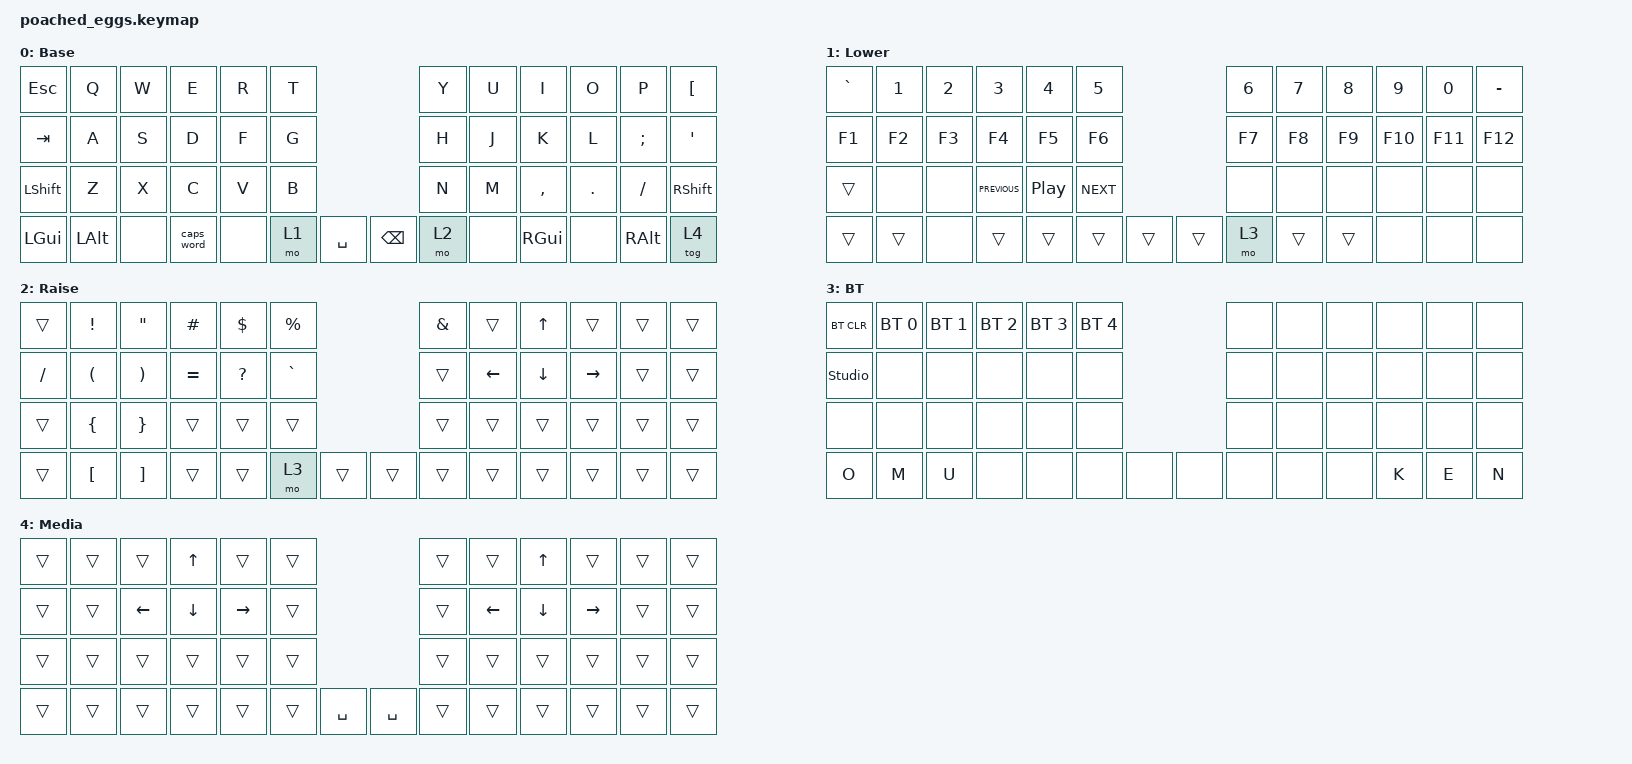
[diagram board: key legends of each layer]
#include <behaviors.dtsi>
#include <dt-bindings/zmk/bt.h>
#include <dt-bindings/zmk/keys.h>

/ {
    macros {
        // "00"（KP_N0 を 2 回送る）numpad 用マクロ
        num_00: num_00 {
            compatible = "zmk,behavior-macro";
            #binding-cells = <0>;
            bindings = <&kp KP_N0 &kp KP_N0>;
        };
    };

    combos {
        compatible = "zmk,combos";

        combo_enter {
            bindings = <&kp RET>;
            key-positions = <42 43>;
        };
    };

    keymap {
        compatible = "zmk,keymap";

        default_layer {
            display-name = "Base";
            bindings = <
&kp ESC    &kp Q     &kp W  &kp E       &kp R  &kp T                       &kp Y  &kp U  &kp I      &kp O    &kp P     &kp LEFT_BRACKET
&kp TAB    &kp A     &kp S  &kp D       &kp F  &kp G                       &kp H  &kp J  &kp K      &kp L    &kp SEMI  &kp SQT
&kp LSHFT  &kp Z     &kp X  &kp C       &kp V  &kp B                       &kp N  &kp M  &kp COMMA  &kp DOT  &kp FSLH  &kp RSHFT
&kp LGUI   &kp LALT  &none  &caps_word  &none  &mo 1  &kp SPACE  &kp BSPC  &mo 2  &none  &kp RGUI   &none    &kp RALT  &tog 4
            >;
        };

        lower_layer {
            display-name = "Lower";
            bindings = <
&kp GRAVE  &kp N1  &kp N2  &kp N3          &kp N4            &kp N5                       &kp N6  &kp N7  &kp N8  &kp N9   &kp N0   &kp MINUS
&kp F1     &kp F2  &kp F3  &kp F4          &kp F5            &kp F6                       &kp F7  &kp F8  &kp F9  &kp F10  &kp F11  &kp F12
&trans     &none   &none   &kp C_PREVIOUS  &kp C_PLAY_PAUSE  &kp C_NEXT                   &none   &none   &none   &none    &none    &none
&trans     &trans  &none   &trans          &trans            &trans      &trans  &trans  &mo 3   &trans  &trans   &none    &none    &none
            >;
        };

        raise_layer {
            display-name = "Raise";
            bindings = <
&trans     &kp EXCL  &kp DQT   &kp HASH   &kp DLLR   &kp PRCNT                  &kp AMPS  &trans          &kp UP_ARROW    &trans           &trans  &trans
&kp SLASH  &kp LPAR  &kp RPAR  &kp EQUAL  &kp QMARK  &kp GRAVE                  &trans    &kp LEFT_ARROW  &kp DOWN_ARROW  &kp RIGHT_ARROW  &trans  &trans
&trans     &kp LBRC  &kp RBRC  &trans     &trans     &trans                     &trans    &trans          &trans          &trans           &trans  &trans
&trans     &kp LBKT  &kp RBKT  &trans     &trans     &mo 3      &trans  &trans  &trans    &trans          &trans          &trans           &trans  &trans
            >;
        };

        bt_layer {
            display-name = "BT";
            bindings = <
&bt BT_CLR      &bt BT_SEL 0  &bt BT_SEL 1  &bt BT_SEL 2  &bt BT_SEL 3  &bt BT_SEL 4                &none  &none  &none  &none  &none  &none
&studio_unlock  &none         &none         &none         &none         &none                       &none  &none  &none  &none  &none  &none
&none           &none         &none         &none         &none         &none                       &none  &none  &none  &none  &none  &none
&kp O           &kp M         &kp U         &none         &none         &none         &none  &none  &none  &none  &none  &kp K  &kp E  &kp N
            >;
        };

        media_layer {
            display-name = "Media";
            bindings = <
&trans  &trans  &trans          &kp UP_ARROW    &trans           &trans                        &trans  &trans          &kp UP_ARROW    &trans           &trans  &trans
&trans  &trans  &kp LEFT_ARROW  &kp DOWN_ARROW  &kp RIGHT_ARROW  &trans                        &trans  &kp LEFT_ARROW  &kp DOWN_ARROW  &kp RIGHT_ARROW  &trans  &trans
&trans  &trans  &trans          &trans          &trans           &trans                        &trans  &trans          &trans          &trans           &trans  &trans
&trans  &trans  &trans          &trans          &trans           &trans  &kp SPACE  &kp SPACE  &trans  &trans          &trans          &trans           &trans  &trans
            >;
        };
    };
};
